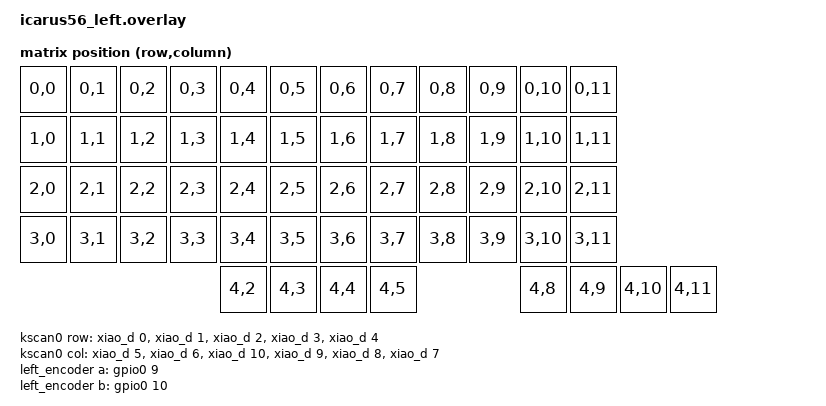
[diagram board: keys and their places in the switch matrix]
/*
 * Icarus56 — Left Half Shield Overlay
 * Seeed XIAO nRF52840; matrix wiring matches the PCB net names.
 */

#include <dt-bindings/zmk/matrix_transform.h>

/ {
    chosen {
        zmk,kscan = &kscan0;
        zmk,matrix_transform = &default_transform;
    };

    default_transform: keymap_transform_0 {
        compatible = "zmk,matrix-transform";
        // The two halves share a 5x12 logical matrix. The right half offsets
        // its six local columns by six (see icarus56_right.overlay).
        columns = <12>;
        rows = <5>;
        map = <
            RC(0,0) RC(0,1) RC(0,2) RC(0,3) RC(0,4) RC(0,5) RC(0,6) RC(0,7) RC(0,8) RC(0,9) RC(0,10) RC(0,11)
            RC(1,0) RC(1,1) RC(1,2) RC(1,3) RC(1,4) RC(1,5) RC(1,6) RC(1,7) RC(1,8) RC(1,9) RC(1,10) RC(1,11)
            RC(2,0) RC(2,1) RC(2,2) RC(2,3) RC(2,4) RC(2,5) RC(2,6) RC(2,7) RC(2,8) RC(2,9) RC(2,10) RC(2,11)
            RC(3,0) RC(3,1) RC(3,2) RC(3,3) RC(3,4) RC(3,5) RC(3,6) RC(3,7) RC(3,8) RC(3,9) RC(3,10) RC(3,11)
                                            RC(4,2) RC(4,3) RC(4,4) RC(4,5)                     RC(4,8) RC(4,9) RC(4,10) RC(4,11)
        >;
    };

    kscan0: kscan {
        compatible = "zmk,kscan-gpio-matrix";
        label = "KSCAN";
        diode-direction = "col2row";

        col-gpios
            = <&xiao_d 5 GPIO_ACTIVE_HIGH>   // Col0
            , <&xiao_d 6 GPIO_ACTIVE_HIGH>   // Col1
            , <&xiao_d 10 GPIO_ACTIVE_HIGH>  // Col2
            , <&xiao_d 9 GPIO_ACTIVE_HIGH>   // Col3
            , <&xiao_d 8 GPIO_ACTIVE_HIGH>   // Col4
            , <&xiao_d 7 GPIO_ACTIVE_HIGH>   // Col5
            ;

        row-gpios
            = <&xiao_d 0 (GPIO_ACTIVE_HIGH | GPIO_PULL_DOWN)>  // Row0
            , <&xiao_d 1 (GPIO_ACTIVE_HIGH | GPIO_PULL_DOWN)>  // Row1
            , <&xiao_d 2 (GPIO_ACTIVE_HIGH | GPIO_PULL_DOWN)>  // Row2
            , <&xiao_d 3 (GPIO_ACTIVE_HIGH | GPIO_PULL_DOWN)>  // Row3
            , <&xiao_d 4 (GPIO_ACTIVE_HIGH | GPIO_PULL_DOWN)>  // Row4
            ;
    };

    left_encoder: encoder_left {
        compatible = "alps,ec11";
        label = "LEFT_ENCODER";
        
        // The PCB routes encoder A/B to the XIAO's NFC1/NFC2 pins.
        a-gpios = <&gpio0 9 (GPIO_ACTIVE_HIGH | GPIO_PULL_UP)>;
        b-gpios = <&gpio0 10 (GPIO_ACTIVE_HIGH | GPIO_PULL_UP)>;
        steps = <80>;
        status = "okay";
    };

    sensors {
        compatible = "zmk,keymap-sensors";
        sensors = <&left_encoder>;
        triggers-per-rotation = <20>;
    };
};
